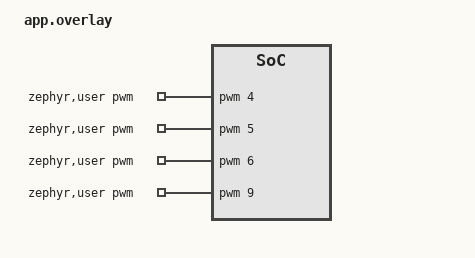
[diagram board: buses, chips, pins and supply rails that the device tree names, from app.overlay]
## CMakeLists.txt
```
# SPDX-License-Identifier: Apache-2.0
cmake_minimum_required(VERSION 3.20.0)
find_package(Zephyr REQUIRED HINTS $ENV{ZEPHYR_BASE})
project(rp2350_can_board)
target_sources(app PRIVATE src/main.c)
```

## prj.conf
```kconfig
# SPDX-License-Identifier: Apache-2.0
CONFIG_ZTEST=y
CONFIG_CAN=y
CONFIG_PWM=y
CONFIG_LOG=y
# Exercise the RTT logging backend rather than ztest minimal printk logging.
CONFIG_LOG_MODE_DEFERRED=y
```

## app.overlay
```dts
/* SPDX-License-Identifier: Apache-2.0 */
#include <zephyr/dt-bindings/pwm/pwm.h>

/ {
	zephyr,user {
		pwms = <&pwm 4 PWM_MSEC(20) PWM_POLARITY_NORMAL>,
		       <&pwm 5 PWM_MSEC(20) PWM_POLARITY_NORMAL>,
		       <&pwm 6 PWM_MSEC(20) PWM_POLARITY_NORMAL>,
		       <&pwm 9 PWM_MSEC(20) PWM_POLARITY_NORMAL>;
	};
};
```

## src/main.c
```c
/* SPDX-License-Identifier: Apache-2.0 */
#include <zephyr/drivers/can.h>
#include <zephyr/drivers/pwm.h>
#include <zephyr/drivers/uart.h>
#include <zephyr/logging/log.h>
#include <zephyr/ztest.h>

LOG_MODULE_REGISTER(rp2350_can_board);

BUILD_ASSERT(!DT_HAS_CHOSEN(zephyr_console), "UART must remain available to applications");
BUILD_ASSERT(!DT_HAS_CHOSEN(zephyr_shell_uart), "Shell must not claim UART0");
BUILD_ASSERT(!IS_ENABLED(CONFIG_UART_CONSOLE), "UART console must be disabled");
BUILD_ASSERT(!IS_ENABLED(CONFIG_CAN_FD_MODE), "XL2515 supports Classic CAN only");
BUILD_ASSERT(IS_ENABLED(CONFIG_CAN_XL2515_SAFE),
	     "Fault-contained XL2515 driver must be enabled");
BUILD_ASSERT(IS_ENABLED(CONFIG_LOG_BACKEND_RTT), "Logs must use RTT");
BUILD_ASSERT(IS_ENABLED(CONFIG_BUILD_OUTPUT_UF2), "UF2 output must be enabled");
BUILD_ASSERT(DT_SAME_NODE(DT_ALIAS(can0), DT_CHOSEN(zephyr_canbus)),
	     "CAN alias and chosen must refer to the same controller");
BUILD_ASSERT(DT_REG_SIZE(DT_CHOSEN(zephyr_flash)) == 4 * 1024 * 1024,
	     "Board has 4 MiB flash");

CAN_MSGQ_DEFINE(rx_queue, 2);
K_SEM_DEFINE(tx_done, 0, 1);
static int tx_status;

static void tx_callback(const struct device *dev, int error, void *user_data)
{
	ARG_UNUSED(dev);
	ARG_UNUSED(user_data);
	tx_status = error;
	k_sem_give(&tx_done);
}

ZTEST(rp2350_can, test_uart0_polling_tx_rx_with_gp0_gp1_jumper)
{
	const struct device *uart = DEVICE_DT_GET(DT_NODELABEL(uart0));
	unsigned char rx = 0;
	int ret;

	zassert_true(device_is_ready(uart), "UART0 is not ready");
	for (int i = 0; i < 64 && uart_poll_in(uart, &rx) == 0; i++) {
	}
	uart_poll_out(uart, 0xa5);
	int64_t deadline = k_uptime_get() + 100;

	do {
		ret = uart_poll_in(uart, &rx);
		if (ret != -1) {
			break;
		}
		k_sleep(K_MSEC(1));
	} while (k_uptime_get() < deadline);

	zassert_ok(ret, "UART RX timed out; connect GP0 to GP1");
	zassert_equal(rx, 0xa5, "UART loopback byte differs");
}

ZTEST(rp2350_can, test_application_overlay_pwm_channels)
{
	const struct pwm_dt_spec outputs[] = {
		PWM_DT_SPEC_GET_BY_IDX(DT_PATH(zephyr_user), 0),
		PWM_DT_SPEC_GET_BY_IDX(DT_PATH(zephyr_user), 1),
		PWM_DT_SPEC_GET_BY_IDX(DT_PATH(zephyr_user), 2),
		PWM_DT_SPEC_GET_BY_IDX(DT_PATH(zephyr_user), 3),
	};

	for (size_t i = 0; i < ARRAY_SIZE(outputs); i++) {
		zassert_true(pwm_is_ready_dt(&outputs[i]), "PWM is not ready");
		zassert_ok(pwm_set_dt(&outputs[i], outputs[i].period, PWM_USEC(1500)));
		k_sleep(K_MSEC(100));
		zassert_ok(pwm_set_dt(&outputs[i], outputs[i].period, 0));
	}
}

ZTEST(rp2350_can, test_classic_can_standard_and_extended_loopback_at_1mbps)
{
	const struct device *can = DEVICE_DT_GET(DT_ALIAS(can0));
	can_mode_t capabilities;

	zassert_true(device_is_ready(can), "XL2515 is not ready");
	zassert_ok(can_get_capabilities(can, &capabilities));
	zassert_false(capabilities & CAN_MODE_FD, "XL2515 cannot support CAN FD");
	zassert_ok(can_set_bitrate(can, 1000000));
	zassert_ok(can_set_mode(can, CAN_MODE_LOOPBACK));
	zassert_ok(can_start(can));

	for (int extended = 0; extended < 2; extended++) {
		struct can_frame tx = {
			.id = extended ? 0x1abcde : 0x123,
			.flags = extended ? CAN_FRAME_IDE : 0,
			.dlc = 8,
			.data = {0, 1, 2, 3, 4, 5, 6, 7},
		};
		const struct can_filter filter = {
			.id = tx.id,
			.mask = extended ? CAN_EXT_ID_MASK : CAN_STD_ID_MASK,
			.flags = extended ? CAN_FILTER_IDE : 0,
		};
		struct can_frame rx;
		int filter_id = can_add_rx_filter_msgq(can, &rx_queue, &filter);

		zassert_true(filter_id >= 0, "Cannot install RX filter: %d", filter_id);
		/* can_send's timeout covers mailbox acquisition, not completion. */
		zassert_ok(can_send(can, &tx, K_MSEC(100), tx_callback, NULL));
		int ret = k_sem_take(&tx_done, K_MSEC(100));

		if (ret != 0) {
			can_remove_rx_filter(can, filter_id);
			(void)can_stop(can);
		}
		zassert_ok(ret, "CAN TX completion timed out; check GP8 IRQ");
		zassert_ok(tx_status, "CAN TX failed");
		zassert_ok(k_msgq_get(&rx_queue, &rx, K_MSEC(100)));
		can_remove_rx_filter(can, filter_id);
		zassert_equal(rx.id, tx.id);
		zassert_equal(rx.flags & CAN_FRAME_IDE, tx.flags);
		zassert_equal(rx.dlc, tx.dlc);
		zassert_mem_equal(rx.data, tx.data, sizeof(tx.data));
	}

	zassert_ok(can_stop(can));
	LOG_INF("Classic CAN standard/extended loopback passed at 1 Mbps");
}

ZTEST_SUITE(rp2350_can, NULL, NULL, NULL, NULL, NULL);
```
